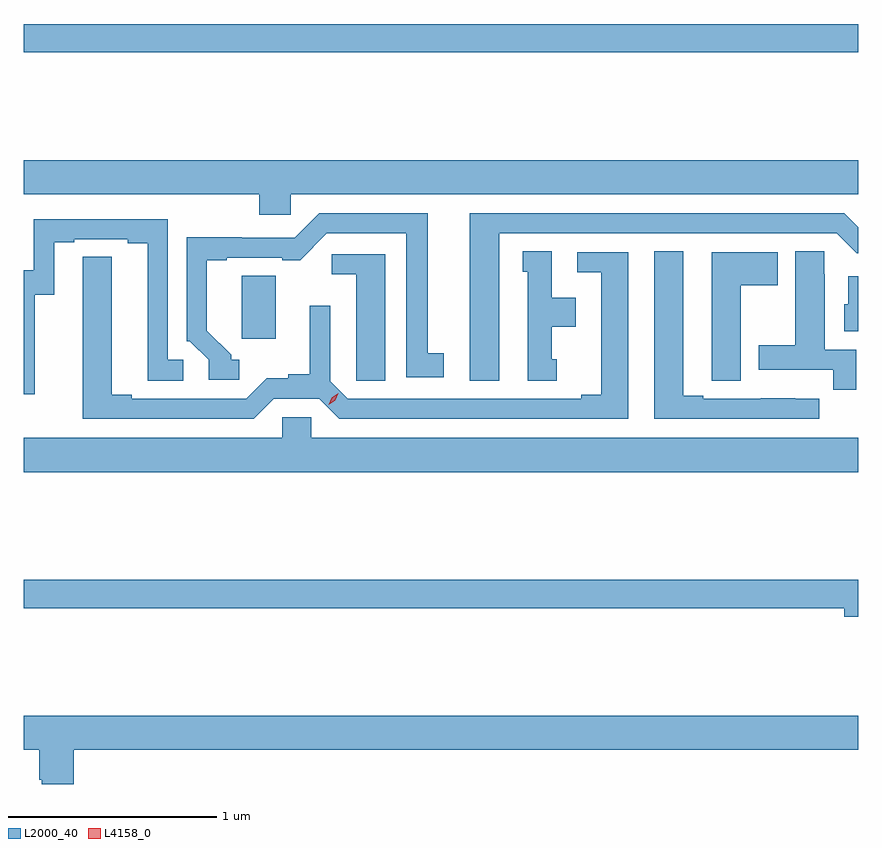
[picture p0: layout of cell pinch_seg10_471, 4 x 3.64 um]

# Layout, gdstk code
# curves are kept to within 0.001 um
import gdstk
lib = gdstk.Library(unit=1e-6, precision=1e-09)
def R(c, l, rs):  # rectangles x0, y0, x1, y1
    for r in rs: c.add(gdstk.rectangle(r[:2], r[2:], *l))
def P(c, l, *ps):  # polygons
    for p in ps: c.add(gdstk.Polygon(p, *l))
L2000_40 = (2000, 40)
L4158_0 = (4158, 0)

pinch_seg10_471 = lib.new_cell('pinch_seg10_471')
R(pinch_seg10_471, L2000_40, [(216.689,1300.996,220.689,1301.132)])
P(pinch_seg10_471, L2000_40, [(217.968,1300.316),(220.689,1300.316),(220.689,1300.48),(216.689,1300.48),(216.689,1300.316),(217.817,1300.316),(217.817,1300.218),(217.968,1300.218)],
  [(218.968,1300.128),(220.587,1300.128),(220.683,1300.032),(220.689,1300.032),(220.689,1300.158),(220.623,1300.224),(218.828,1300.224),(218.828,1299.423),(218.968,1299.423)],
  [(217.723,1299.522),(217.684,1299.522),(217.684,1299.546),(217.567,1299.662),(217.567,1299.999),(217.663,1299.999),(217.663,1300.011),(217.928,1300.011),(217.928,1300),(218.014,1300),(218.142,1300.128),(218.522,1300.128),(218.522,1299.438),(218.701,1299.438),(218.701,1299.554),(218.626,1299.554),(218.626,1300.224),(218.106,1300.224),(217.989,1300.107),(217.733,1300.107),(217.733,1300.109),(217.47,1300.109),(217.47,1299.612),(217.485,1299.612),(217.575,1299.522),(217.575,1299.426),(217.723,1299.426)],
  [(216.741,1299.835),(216.835,1299.835),(216.835,1300.086),(216.931,1300.086),(216.931,1300.101),(217.187,1300.101),(217.187,1300.081),(217.283,1300.081),(217.283,1299.421),(217.453,1299.421),(217.453,1299.522),(217.38,1299.522),(217.38,1300.197),(216.738,1300.197),(216.738,1299.951),(216.689,1299.951),(216.689,1299.357),(216.741,1299.357)],
  [(220.679,1299.57),(220.528,1299.57),(220.528,1299.932),(220.527,1299.932),(220.527,1300.043),(220.388,1300.043),(220.388,1299.591),(220.211,1299.591),(220.211,1299.474),(220.57,1299.474),(220.57,1299.378),(220.679,1299.378)],
  [(219.244,1299.525),(219.22,1299.525),(219.22,1299.68),(219.334,1299.68),(219.334,1299.82),(219.22,1299.82),(219.22,1300.043),(219.08,1300.043),(219.08,1299.945),(219.104,1299.945),(219.104,1299.423),(219.244,1299.423)],
  [(220.501,1299.336),(220.388,1299.336),(220.388,1299.337),(220.222,1299.337),(220.222,1299.336),(219.946,1299.336),(219.946,1299.351),(219.85,1299.351),(219.85,1300.043),(219.71,1300.043),(219.71,1299.24),(220.501,1299.24)],
  [(220.126,1299.88),(220.303,1299.88),(220.303,1300.039),(219.986,1300.039),(219.986,1299.529),(219.987,1299.529),(219.987,1299.421),(220.126,1299.421)],
  [(217.887,1299.336),(218.105,1299.336),(218.201,1299.24),(219.586,1299.24),(219.586,1300.038),(219.342,1300.038),(219.342,1299.942),(219.458,1299.942),(219.458,1299.356),(219.362,1299.356),(219.362,1299.336),(218.241,1299.336),(218.157,1299.42),(218.157,1299.781),(218.06,1299.781),(218.06,1299.452),(217.956,1299.452),(217.956,1299.434),(217.853,1299.434),(217.755,1299.336),(217.207,1299.336),(217.207,1299.356),(217.111,1299.356),(217.111,1300.016),(216.972,1300.016),(216.971,1299.24),(217.791,1299.24)],
  [(218.422,1300.029),(218.166,1300.029),(218.166,1299.932),(218.282,1299.932),(218.282,1299.529),(218.283,1299.529),(218.283,1299.421),(218.422,1299.421)],
  [(217.897,1299.768),(217.896,1299.768),(217.896,1299.926),(217.733,1299.926),(217.733,1299.624),(217.897,1299.624)],
  [(220.689,1299.922),(220.64,1299.922),(220.64,1299.789),(220.622,1299.789),(220.622,1299.659),(220.689,1299.659)],
  [(220.689,1299.148),(218.067,1299.148),(218.067,1299.246),(217.929,1299.246),(217.929,1299.148),(216.689,1299.148),(216.689,1298.984),(220.689,1298.984)],
  [(220.689,1298.468),(216.689,1298.468),(216.689,1298.332),(220.622,1298.332),(220.622,1298.29),(220.689,1298.29)],
  [(216.929,1297.652),(220.689,1297.652),(220.689,1297.816),(216.689,1297.816),(216.689,1297.652),(216.764,1297.652),(216.764,1297.51),(216.776,1297.51),(216.776,1297.489),(216.929,1297.489)])
P(pinch_seg10_471, L4158_0, [(218.151,1299.307),(218.151,1299.308),(218.166,1299.341),(218.197,1299.363),(218.197,1299.363),(218.197,1299.363),(218.181,1299.329),(218.151,1299.307)])

lib.write_gds('pinch_seg10_471.gds')
